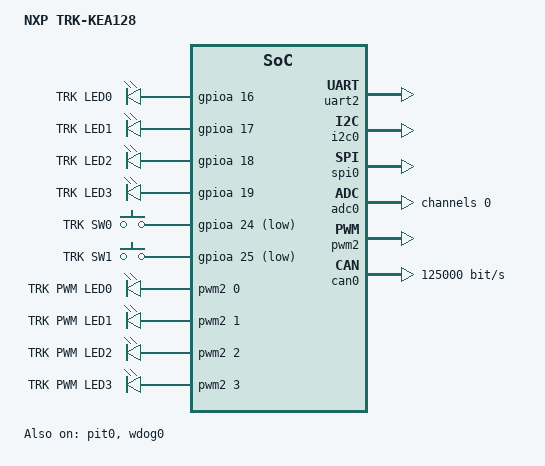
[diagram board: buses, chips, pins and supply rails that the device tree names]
/dts-v1/;

#include <nxp/kea/nxp_skeaz1284.dtsi>
#include <zephyr/dt-bindings/gpio/gpio.h>
#include <zephyr/dt-bindings/input/input-event-codes.h>
#include <zephyr/dt-bindings/pwm/pwm.h>

/ {
	model = "NXP TRK-KEA128";
	compatible = "nxp,trk-kea128";

	chosen {
		zephyr,sram = &sram0;
		zephyr,flash = &flash0;
		zephyr,flash-controller = &ftmre;
		zephyr,code-partition = &app_partition;
		zephyr,console = &uart2;
		zephyr,shell-uart = &uart2;
		zephyr,canbus = &can0;
	};

	aliases {
		led0 = &user_led0;
		led1 = &user_led1;
		led2 = &user_led2;
		led3 = &user_led3;
		sw0 = &user_sw0;
		sw1 = &user_sw1;
		pwm-led0 = &user_pwm_led0;
		pwm-led1 = &user_pwm_led1;
		pwm-led2 = &user_pwm_led2;
		pwm-led3 = &user_pwm_led3;
		gpio-0 = &gpioa;
		uart-0 = &uart2;
		uart0 = &uart2;
		i2c-0 = &i2c0;
		i2c0 = &i2c0;
		spi-0 = &spi0;
		spi0 = &spi0;
		adc-0 = &adc0;
		adc0 = &adc0;
		pwm-0 = &pwm2;
		pwm0 = &pwm2;
		counter-0 = &pit0;
		can-0 = &can0;
		can0 = &can0;
		watchdog0 = &wdog0;
	};

	leds {
		compatible = "gpio-leds";

		user_led0: led_0 {
			/* PTC0 */
			gpios = <&gpioa 16 GPIO_ACTIVE_HIGH>;
			label = "TRK LED0";
		};

		user_led1: led_1 {
			/* PTC1 */
			gpios = <&gpioa 17 GPIO_ACTIVE_HIGH>;
			label = "TRK LED1";
		};

		user_led2: led_2 {
			/* PTC2 */
			gpios = <&gpioa 18 GPIO_ACTIVE_HIGH>;
			label = "TRK LED2";
		};

		user_led3: led_3 {
			/* PTC3 */
			gpios = <&gpioa 19 GPIO_ACTIVE_HIGH>;
			label = "TRK LED3";
		};
	};

	gpio_keys {
		compatible = "gpio-keys";

		user_sw0: button_0 {
			/* PTD0 / SW1 */
			gpios = <&gpioa 24 GPIO_ACTIVE_LOW>;
			label = "TRK SW0";
			zephyr,code = <INPUT_KEY_0>;
		};

		user_sw1: button_1 {
			/* PTD1 / SW2 */
			gpios = <&gpioa 25 GPIO_ACTIVE_LOW>;
			label = "TRK SW1";
			zephyr,code = <INPUT_KEY_1>;
		};
	};

	pwmleds {
		compatible = "pwm-leds";

		user_pwm_led0: pwm_led_0 {
			pwms = <&pwm2 0 PWM_USEC(20000) PWM_POLARITY_NORMAL>;
			label = "TRK PWM LED0";
		};

		user_pwm_led1: pwm_led_1 {
			pwms = <&pwm2 1 PWM_USEC(20000) PWM_POLARITY_NORMAL>;
			label = "TRK PWM LED1";
		};

		user_pwm_led2: pwm_led_2 {
			pwms = <&pwm2 2 PWM_USEC(20000) PWM_POLARITY_NORMAL>;
			label = "TRK PWM LED2";
		};

		user_pwm_led3: pwm_led_3 {
			pwms = <&pwm2 3 PWM_USEC(20000) PWM_POLARITY_NORMAL>;
			label = "TRK PWM LED3";
		};
	};
};

&pinctrl {
	uart2_default: uart2_default {
		group0 {
			/* PINSEL1[13] */
			pinmux = <0x80002000>;
		};
	};

	i2c0_default: i2c0_default {
		group0 {
			/* PINSEL[5] */
			pinmux = <0x00000020>;
		};
	};

	spi0_default: spi0_default {
		group0 {
			/* PINSEL[6] */
			pinmux = <0x00000040>;
		};
	};

	can0_default: can0_default {
		group0 {
			/* PINSEL1[16] */
			pinmux = <0x80010000>;
		};
	};
};

&uart2 {
	status = "okay";
	pinctrl-0 = <&uart2_default>;
	pinctrl-names = "default";
};

&i2c0 {
	status = "okay";
	pinctrl-0 = <&i2c0_default>;
	pinctrl-names = "default";
};

&spi0 {
	status = "okay";
	pinctrl-0 = <&spi0_default>;
	pinctrl-names = "default";
};

&adc0 {
	status = "okay";

	channel@0 {
		reg = <0>;
		zephyr,gain = "ADC_GAIN_1";
		zephyr,reference = "ADC_REF_VDD_1";
		zephyr,acquisition-time = <0>;
		zephyr,resolution = <12>;
	};
};

&pwm2 {
	status = "okay";
};

&pit0 {
	status = "okay";
};

&can0 {
	status = "okay";
	pinctrl-0 = <&can0_default>;
	pinctrl-names = "default";
	bitrate = <125000>;
	sample-point = <875>;
};

&wdog0 {
	status = "okay";
};

&flash0 {
	partitions {
		compatible = "fixed-partitions";
		#address-cells = <1>;
		#size-cells = <1>;

		app_partition: partition@0 {
			label = "image-0";
			reg = <0x00000000 0x0001f000>;
		};

		storage_partition: partition@1f000 {
			label = "storage";
			reg = <0x0001f000 0x00001000>;
		};
	};
};
